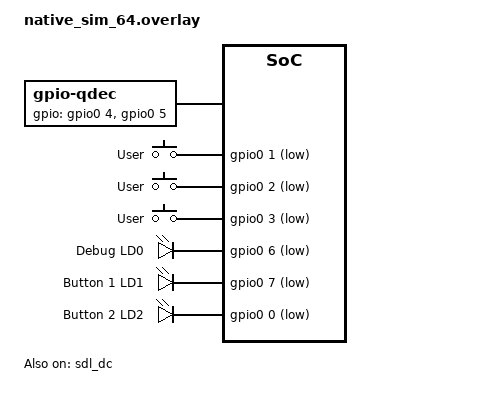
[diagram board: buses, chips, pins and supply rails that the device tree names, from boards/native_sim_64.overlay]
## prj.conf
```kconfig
CONFIG_LV_Z_MEM_POOL_SIZE=16384
CONFIG_LV_Z_SHELL=y
CONFIG_MAIN_STACK_SIZE=4096

CONFIG_DISPLAY=y
CONFIG_DISPLAY_LOG_LEVEL_ERR=y

CONFIG_LOG=y
CONFIG_SHELL=y

CONFIG_LVGL=y
CONFIG_LV_USE_LOG=y
CONFIG_LV_USE_LABEL=y
CONFIG_LV_USE_ARC=y
CONFIG_LV_USE_MONKEY=y
CONFIG_LV_FONT_MONTSERRAT_14=y
CONFIG_LV_COLOR_DEPTH_1=y
CONFIG_LV_USE_THEME_MONO=y
CONFIG_SDL_DISPLAY_DEFAULT_PIXEL_FORMAT_MONO01=y

CONFIG_LV_Z_FULL_REFRESH=y
# In a PR. From 0 to 255
CONFIG_LV_DRAW_SW_I1_LUM_THRESHOLD=50

CONFIG_INPUT=y
CONFIG_INPUT_GPIO_QDEC=y
CONFIG_GPIO=y
CONFIG_INPUT_EVENT_DUMP=y
CONFIG_LV_Z_POINTER_INPUT=n
CONFIG_LV_Z_KEYPAD_INPUT=y
CONFIG_LV_Z_ENCODER_INPUT=y
#CONFIG_LV_LOG_LEVEL_INFO=y
CONFIG_LV_LOG_TRACE_INDEV=y

# For GDB
CONFIG_NO_OPTIMIZATIONS=y
```

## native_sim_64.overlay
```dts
&sdl_dc {
        compatible = "zephyr,sdl-dc";
        status = "okay";
        height = <64>;
        width = <128>;
};
```

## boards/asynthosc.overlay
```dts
/*
 * Copyright (c) 2024, Eve Redero
 *
 * SPDX-License-Identifier: Apache-2.0
 */

#include <zephyr/dt-bindings/input/input-event-codes.h>
#include <zephyr/dt-bindings/lvgl/lvgl.h>

/ {
	lvgl_keypad {
		compatible = "zephyr,lvgl-keypad-input";
		input = <&buttons>;
		input-codes = <INPUT_KEY_ENTER INPUT_KEY_ESC>;
		lvgl-codes =  <LV_KEY_ENTER LV_KEY_ESC>;
	};
/*	lvgl_keypad_2 {
		compatible = "zephyr,lvgl-keypad-input";
		input = <&gpioqdec>;
		input-codes = <INPUT_KEY_RIGHT INPUT_KEY_LEFT>;
		lvgl-codes =  <LV_KEY_RIGHT LV_KEY_LEFT>;
	};
*/
	lvgl_encoder {
		compatible = "zephyr,lvgl-encoder-input";
		rotation-input-code = <INPUT_REL_WHEEL>;
		button-input-code = <INPUT_KEY_0>;
	};
};
```

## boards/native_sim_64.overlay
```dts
/*
 * Copyright (c) 2023, Nordic Semiconductor ASA
 *
 * SPDX-License-Identifier: Apache-2.0
 */
#include <zephyr/dt-bindings/input/input-event-codes.h>
#include <zephyr/dt-bindings/lvgl/lvgl.h>

/ {
	qdec {
		status = "okay";
		compatible = "gpio-qdec";
		gpios = <&gpio0 4 GPIO_ACTIVE_HIGH>, <&gpio0 5 GPIO_ACTIVE_HIGH>;
		steps-per-period = <4>;
		zephyr,axis = <INPUT_REL_WHEEL>;
		sample-time-us = <2000>;
		idle-timeout-ms = <200>;
	};
	keys: gpio_keys {
		compatible = "gpio-keys";
		right_button: button_0 {
			label = "User";
			gpios = <&gpio0 1 GPIO_ACTIVE_LOW>;
			zephyr,code = <INPUT_KEY_RIGHT>;
		};
		left_button: button_1 {
			label = "User";
			gpios = <&gpio0 2 GPIO_ACTIVE_LOW>;
			zephyr,code = <INPUT_KEY_LEFT>;
		};
		rot_button: button_2 {
			label = "User";
			gpios = <&gpio0 3 GPIO_ACTIVE_LOW>;
			zephyr,code = <INPUT_KEY_ENTER>;
		};
	};
	leds {
		debug_led: led_0 {
			gpios = <&gpio0 6 GPIO_ACTIVE_LOW>;
			label = "Debug LD0";
		};
		button1_led: led_1 {
			gpios = <&gpio0 7 GPIO_ACTIVE_LOW>;
			label = "Button 1 LD1";
		};
		button2_led: led_2 {
			gpios = <&gpio0 0 GPIO_ACTIVE_LOW>;
			label = "Button 2 LD2";
		};
	};
	lvgl_keypad_input {
		compatible = "zephyr,lvgl-keypad-input";
		input = <&keys>;
		input-codes = <INPUT_KEY_RIGHT INPUT_KEY_LEFT INPUT_KEY_ENTER>;
		lvgl-codes = <LV_KEY_RIGHT LV_KEY_LEFT LV_KEY_ENTER>;
	};

	lvgl_encoder_input {
		compatible = "zephyr,lvgl-encoder-input";
		rotation-input-code = <INPUT_REL_WHEEL>;
		button-input-code = <INPUT_KEY_0>;
	};
};


&gpio0 {
	ngpios = <8>;

	sdl_gpio {
		status = "okay";
		compatible = "zephyr,gpio-emul-sdl";
		/* Scancodes correspond to USB HID decimal codes */
		/* not the usual AT-101 input codes. */
		/* 79: Right, 80: Left, 40: Enter, 81: Down, 82: Up*/
		scancodes = <0 79 80 40 81 82 0 0>;
	};
};

&sdl_dc {
        compatible = "zephyr,sdl-dc";
        status = "okay";
        height = <64>;
        width = <128>;
};
```

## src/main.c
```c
/*
 * Copyright (c) 2018 Jan Van Winkel <jan.van_winkel@dxplore.eu>
 *
 * SPDX-License-Identifier: Apache-2.0
 */

#include <zephyr/device.h>
#include <zephyr/devicetree.h>
#include <zephyr/drivers/display.h>
#include <zephyr/drivers/gpio.h>
#include <lvgl.h>
#include <stdio.h>
#include <string.h>
#include <zephyr/kernel.h>
#include <lvgl_input_device.h>

#define LOG_LEVEL CONFIG_LOG_DEFAULT_LEVEL
#include <zephyr/logging/log.h>
LOG_MODULE_REGISTER(app);

static uint32_t count;

#ifdef CONFIG_RESET_COUNTER_SW0
static struct gpio_dt_spec button_gpio = GPIO_DT_SPEC_GET_OR(
		DT_ALIAS(sw0), gpios, {0});
static struct gpio_callback button_callback;

static void button_isr_callback(const struct device *port,
				struct gpio_callback *cb,
				uint32_t pins)
{
	ARG_UNUSED(port);
	ARG_UNUSED(cb);
	ARG_UNUSED(pins);

	count = 0;
}
#endif /* CONFIG_RESET_COUNTER_SW0 */

#ifdef CONFIG_LV_Z_ENCODER_INPUT
static const struct device *lvgl_encoder =
	DEVICE_DT_GET(DT_COMPAT_GET_ANY_STATUS_OKAY(zephyr_lvgl_encoder_input));
#endif /* CONFIG_LV_Z_ENCODER_INPUT */

#ifdef CONFIG_LV_Z_KEYPAD_INPUT
static const struct device *lvgl_keypad =
	DEVICE_DT_GET(DT_COMPAT_GET_ANY_STATUS_OKAY(zephyr_lvgl_keypad_input));
#endif /* CONFIG_LV_Z_KEYPAD_INPUT */

static void lv_btn_click_callback(lv_event_t *e)
{
	ARG_UNUSED(e);

	count = 0;
}

int main(void)
{
	char count_str[11] = {0};
	const struct device *display_dev;
	lv_obj_t *hello_world_label;
	lv_obj_t *count_label;

	display_dev = DEVICE_DT_GET(DT_CHOSEN(zephyr_display));
	if (!device_is_ready(display_dev)) {
		LOG_ERR("Device not ready, aborting test");
		return 0;
	}

#ifdef CONFIG_RESET_COUNTER_SW0
	if (gpio_is_ready_dt(&button_gpio)) {
		int err;

		err = gpio_pin_configure_dt(&button_gpio, GPIO_INPUT);
		if (err) {
			LOG_ERR("failed to configure button gpio: %d", err);
			return 0;
		}

		gpio_init_callback(&button_callback, button_isr_callback,
				   BIT(button_gpio.pin));

		err = gpio_add_callback(button_gpio.port, &button_callback);
		if (err) {
			LOG_ERR("failed to add button callback: %d", err);
			return 0;
		}

		err = gpio_pin_interrupt_configure_dt(&button_gpio,
						      GPIO_INT_EDGE_TO_ACTIVE);
		if (err) {
			LOG_ERR("failed to enable button callback: %d", err);
			return 0;
		}
	}
#endif /* CONFIG_RESET_COUNTER_SW0 */

#ifdef YO
//#ifdef CONFIG_LV_Z_ENCODER_INPUT
	lv_obj_t *arc;
	lv_group_t *arc_group;

	arc = lv_arc_create(lv_screen_active());
	lv_obj_align(arc, LV_ALIGN_CENTER, 0, 0);
	lv_obj_set_size(arc, 50, 50);
	lv_obj_set_style_arc_color(arc, lv_color_white(), LV_PART_MAIN);
	lv_obj_set_style_arc_color(arc, lv_color_black(), LV_PART_INDICATOR);
	lv_obj_set_style_arc_color(arc, lv_color_black(), LV_PART_KNOB);
	lv_obj_set_style_arc_opa(arc, LV_OPA_COVER, LV_PART_MAIN);
	lv_obj_set_style_arc_opa(arc, LV_OPA_COVER, LV_PART_INDICATOR);
	lv_obj_set_style_arc_opa(arc, LV_OPA_TRANSP, LV_PART_KNOB);

	arc_group = lv_group_create();
	lv_group_add_obj(arc_group, arc);
	lv_indev_set_group(lvgl_input_get_indev(lvgl_encoder), arc_group);
	LOG_INF("lvgl encoder: %s", lvgl_encoder->name);
#endif /* CONFIG_LV_Z_ENCODER_INPUT */

#ifdef CONFIG_LV_Z_KEYPAD_INPUT
	lv_obj_t *btn_matrix;
	lv_group_t *btn_matrix_group;
	static const char *const btnm_map[] = {"1", "2", "3", ""};

	btn_matrix = lv_buttonmatrix_create(lv_screen_active());
	lv_obj_align(btn_matrix, LV_ALIGN_CENTER, 0, 0);
	lv_buttonmatrix_set_map(btn_matrix, (const char **)btnm_map);
	lv_obj_set_size(btn_matrix, 100, 50);

	btn_matrix_group = lv_group_create();
	lv_group_add_obj(btn_matrix_group, btn_matrix);
	lv_indev_set_group(lvgl_input_get_indev(lvgl_keypad), btn_matrix_group);
	lv_obj_set_style_text_color(lv_screen_active(), lv_color_white(), LV_PART_MAIN);
	lv_obj_set_style_bg_color(btn_matrix, lv_color_black(), LV_PART_ITEMS | LV_STATE_PRESSED | LV_STATE_FOCUSED);
	lv_obj_set_style_bg_opa(btn_matrix, LV_OPA_COVER, LV_PART_ITEMS);
#endif /* CONFIG_LV_Z_KEYPAD_INPUT */

	lv_timer_handler();
	display_blanking_off(display_dev);

	while (1) {
		lv_timer_handler();
		++count;
		k_sleep(K_MSEC(10));
	}
}
```
